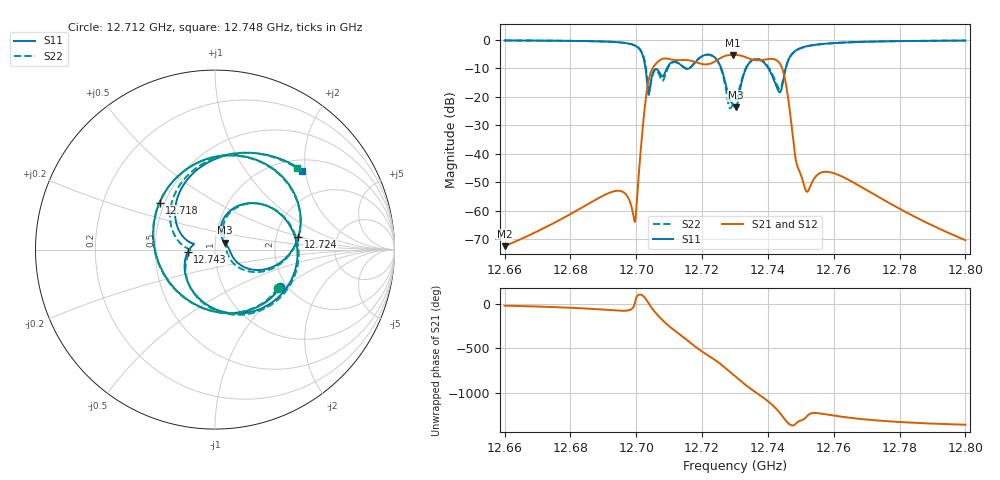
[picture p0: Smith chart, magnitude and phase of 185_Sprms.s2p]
! TOUCHSTONE file generated by CST MICROWAVE STUDIO
! Date and time: Wed Jul 31 20:15:10 2024
! Project name: WaveGuide_BPF-Ver4.1_U-shape_Ku_T3_C4_CWA_2.cst
! Parameters = {cavity_h=16; cavity_l0=10; cavity_l1=15.1743; cavity_l2=16.8559; cavity_l3=17.1142; cavity_l4=17.2866; cavity_l5=17.1393; cavity_l6=17.6122; cavity_r=2.5; cavity_screw_l=0.5; cavity_screw_r=1.5; cavity_w=8; iris_h00=0; iris_h01=8.8302; iris_h112=0; iris_h12=5.5969; iris_h211=3.659; i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
! Header version: 2018
! Port assignment regex: !\s*Touchstone port\s*([0-9]+)\s*=\s*(CST MWS port|CST DS port)\s*([0-9]+|Zmin|Zmax)\s*\(\"(.*)\"\)(\s*mode\s*([0-9]+))?.*
! Touchstone port assignment:
! Touchstone port 1 = CST MWS port 1 ("")
! Touchstone port 2 = CST MWS port 2 ("")
# GHz S RI R 50
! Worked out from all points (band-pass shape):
!   5001 points, 12.66 GHz to 12.8 GHz, reference 50 ohm
!   highest |S21| = -5.21 dB at 12.729 GHz (marker M1); lowest = -72.4 dB at 12.66 GHz (marker M2)
!   |S21| within 3 dB of the highest: 12.70607 GHz to 12.71923 GHz (13.16 MHz wide, 0.103 % of centre); 12.72271 GHz to 12.7436 GHz (20.89 MHz wide, 0.164 % of centre)
!   lowest |S11| = -23.7 dB at 12.73 GHz (marker M3), VSWR 1.14, Z = 55.5 + j4.22 ohm
!   |S11| at or under -10 dB: 12.70282 GHz to 12.70931 GHz (6.492 MHz wide, 0.0511 % of centre); 12.72585 GHz to 12.73334 GHz (7.492 MHz wide, 0.0589 % of centre); 12.74017 GHz to 12.74539 GHz (5.219 MHz wide, 0.041 % of centre) (the widest 3 of 4)
!   |S22| runs from -24.0 to -0.2 dB; largest |S21 - S12| = 1e-09
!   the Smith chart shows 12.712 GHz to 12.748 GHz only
!   S11 on the Smith chart (normalised r, x): 12.712 GHz: 1.82, -0.93; 12.718 GHz: 0.47, +0.29; 12.724 GHz: 2.67, +0.50; 12.743 GHz: 0.74, -0.02; 12.748 GHz: 1.24, +1.93
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12.66  0.2766 0.9429  0.000224 -8.4e-05  0.000224 -8.4e-05  0.2844 0.9405
12.68335  0.673 0.6868  0.000723 -0.000867  0.000723 -0.000867  0.6809 0.6788
12.69948  0.7669 -0.2435  0.000649 -3.47e-05  0.000649 -3.47e-05  0.7712 -0.2497
12.70332  0.0726 -0.1577  0.12 0.0749  0.12 0.0749  0.0817 -0.2031
12.70668  0.2854 -0.0473  -0.2917 -0.3026  -0.2917 -0.3026  0.2551 -0.0817
12.71166  0.3605 -0.2111  0.2212 0.3868  0.2212 0.3868  0.3495 -0.2129
12.7179  -0.3083 0.2623  -0.2055 -0.3568  -0.2055 -0.3568  -0.3059 0.2711
12.72423  0.465 0.0725  0.0608 0.4261  0.0608 0.4261  0.4593 0.0528
12.72709  0.1518 -0.0917  0.5283 -0.00446  0.5283 -0.00446  0.1206 -0.0915
12.72944  0.0717 0.0146  0.154 -0.5269  0.154 -0.5269  0.0609 0.0428
12.73  0.0583 0.0315  -0.0108 -0.5481  -0.0108 -0.5481  0.0561 0.0604
12.73017  0.0535 0.0378  -0.0607 -0.5443  -0.0607 -0.5443  0.0538 0.0664
12.73274  0.1086 0.2336  -0.5107 -0.0356  -0.5107 -0.0356  0.1283 0.2384
12.73599  0.4578 0.013  -0.0382 0.4435  -0.0382 0.4435  0.4642 0.00782
12.73969  0.0436 -0.346  0.4598 -0.0224  0.4598 -0.0224  0.0677 -0.3578
12.74263  -0.1511 -0.0122  -0.0853 -0.4332  -0.0853 -0.4332  -0.159 -0.0585
12.74526  -0.2225 0.1926  -0.1452 0.1316  -0.1452 0.1316  -0.2492 0.1606
12.74848  0.4873 0.4406  -0.000696 0.00779  -0.000696 0.00779  0.4549 0.4555
12.75335  0.6947 -0.4151  -0.00258 -0.00174  -0.00258 -0.00174  0.6905 -0.4135
12.76116  -0.0426 -0.8901  -0.00433 -1.95e-05  -0.00433 -1.95e-05  -0.0582 -0.8891
12.77668  -0.8367 -0.4515  -0.000746 0.00117  -0.000746 0.00117  -0.8439 -0.4389
12.8  -0.9654 0.1543  3.2e-05 0.000303  3.2e-05 0.000303  -0.9639 0.1644
